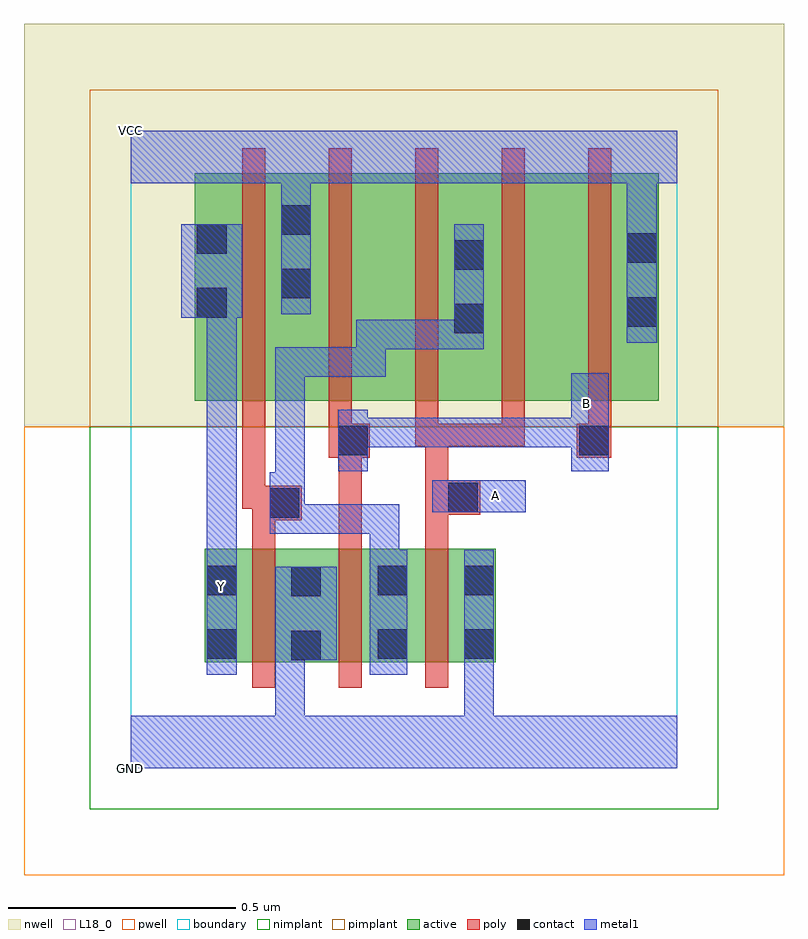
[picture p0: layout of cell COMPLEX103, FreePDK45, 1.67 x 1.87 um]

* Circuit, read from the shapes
.subckt COMPLEX103 A B GND VCC Y
M1 GND n1 Y VSUBS nfet w=0.25u l=0.05u
M2 n1 B GND VSUBS nfet w=0.25u l=0.05u
M3 GND A n1 VSUBS nfet w=0.25u l=0.05u
M4 VCC n1 Y n2 pfet w=0.5u l=0.05u
M5 n3 B VCC n2 pfet w=0.5u l=0.05u
M6 n1 A n3 n2 pfet w=0.5u l=0.05u
M7 n4 A n1 n2 pfet w=0.5u l=0.05u
M8 VCC B n4 n2 pfet w=0.5u l=0.05u
.ends

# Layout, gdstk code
import gdstk
lib = gdstk.Library(unit=1e-6, precision=1e-09)
def R(c, l, rs):  # rectangles x0, y0, x1, y1
    for r in rs: c.add(gdstk.rectangle(r[:2], r[2:], *l))
def A(c, l, x, y, w, h, nx, ny, dx, dy):  # array of equal rectangles
    R(c, l, [(x+i*dx, y+j*dy, x+i*dx+w, y+j*dy+h) for i in range(nx) for j in range(ny)])
active = (1, 0)
pwell = (2, 0)
nwell = (3, 0)
nimplant = (4, 0)
pimplant = (5, 0)
poly = (9, 0)
contact = (10, 0)
metal1 = (11, 0)
L18_0 = (18, 0)
boundary = (235, 0)

complex103 = lib.new_cell('COMPLEX103')
R(complex103, active, [(0.162,0.232,0.422,0.482), (0.347,0.232,0.612,0.482), (0.347,0.232,0.422,0.472), (0.537,0.232,0.802,0.482), (0.162,0.235,0.237,0.482), (0.537,0.235,0.612,0.45), (0.727,0.235,0.802,0.482), (0.14,0.807,0.215,1.2), (0.14,0.807,0.4,1.307), (0.325,0.807,0.4,1.305), (0.325,0.807,0.555,1.307), (0.555,0.807,0.78,1.307), (0.705,0.807,0.935,1.307), (0.705,0.807,0.78,1.2), (0.935,0.807,1.16,1.307), (1.085,0.807,1.16,1.305)])
R(complex103, pwell, [(-0.235,-0.235,1.435,0.75)])
R(complex103, nwell, [(-0.235,0.75,1.435,1.635)])
R(complex103, nimplant, [(-0.09,-0.09,1.29,0.75)])
R(complex103, pimplant, [(-0.09,0.75,1.29,1.49)])
A(complex103, poly, 0.267, 0.177, 0.05, 0.36, 3, 1, 0.19, 0)
A(complex103, poly, 0.435, 0.707, 0.05, 0.095, 4, 1, 0.19, 0)
A(complex103, poly, 0.245, 0.752, 0.05, 0.61, 5, 1, 0.19, 0)
R(complex103, poly, [(0.267,0.487,0.317,0.595), (0.457,0.487,0.507,0.732), (0.647,0.487,0.697,0.607), (0.267,0.545,0.375,0.62), (0.647,0.557,0.767,0.632), (0.245,0.57,0.317,0.62), (0.245,0.57,0.295,0.802), (0.267,0.57,0.317,0.62), (0.647,0.582,0.697,0.757), (0.435,0.682,0.525,0.757), (0.457,0.682,0.507,0.732), (0.457,0.682,0.507,0.732), (0.98,0.682,1.055,0.757), (0.625,0.707,0.697,0.757), (0.647,0.707,0.865,0.757), (0.815,0.707,0.865,0.757), (0.815,0.707,0.865,0.757), (0.815,0.707,0.865,0.757)])
R(complex103, contact, [(0.352,0.237,0.417,0.302), (0.167,0.24,0.232,0.305), (0.542,0.24,0.607,0.305), (0.732,0.24,0.797,0.305), (0.352,0.377,0.417,0.442), (0.167,0.38,0.232,0.445), (0.542,0.38,0.607,0.445), (0.732,0.38,0.797,0.445), (0.305,0.55,0.37,0.615), (0.697,0.562,0.762,0.627), (0.455,0.687,0.52,0.752), (0.985,0.687,1.05,0.752), (0.71,0.955,0.775,1.02), (1.09,0.97,1.155,1.035), (0.145,0.99,0.21,1.055), (0.33,1.032,0.395,1.097), (0.71,1.095,0.775,1.16), (1.09,1.11,1.155,1.175), (0.145,1.13,0.21,1.195), (0.33,1.172,0.395,1.237)])
R(complex103, metal1, [(0,0,1.2,0.115), (0.317,0.05,0.382,0.115), (0.317,0.05,0.382,0.115), (0.317,0.05,0.382,0.115), (0.317,0.05,0.382,0.115), (0.317,0.05,0.382,0.302), (0.732,0.05,0.797,0.115), (0.732,0.05,0.797,0.115), (0.732,0.05,0.797,0.115), (0.732,0.05,0.797,0.115), (0.732,0.05,0.797,0.27), (0.167,0.205,0.232,0.48), (0.525,0.205,0.607,0.48), (0.732,0.205,0.797,0.48), (0.317,0.237,0.452,0.442), (0.167,0.332,0.232,0.48), (0.167,0.415,0.232,0.48), (0.167,0.415,0.232,1.055), (0.525,0.415,0.59,0.58), (0.305,0.515,0.37,0.65), (0.305,0.515,0.382,0.58), (0.317,0.515,0.382,0.58), (0.317,0.515,0.59,0.58), (0.317,0.515,0.382,0.925), (0.525,0.515,0.59,0.58), (0.525,0.515,0.59,0.58), (0.525,0.515,0.59,0.58), (0.662,0.562,0.867,0.632), (0.455,0.652,0.52,0.787), (0.967,0.652,1.05,0.867), (0.455,0.705,0.52,0.77), (0.455,0.705,0.52,0.77), (0.455,0.705,0.727,0.77), (0.662,0.705,0.727,0.77), (0.662,0.705,0.727,0.77), (0.662,0.705,0.727,0.77), (0.662,0.705,0.895,0.77), (0.83,0.705,1.032,0.77), (0.83,0.705,0.895,0.77), (0.83,0.705,0.895,0.77), (0.83,0.705,0.895,0.77), (0.317,0.86,0.382,0.925), (0.317,0.86,0.382,0.925), (0.317,0.86,0.382,0.925), (0.317,0.86,0.56,0.925), (0.495,0.86,0.56,0.985), (0.495,0.92,0.56,0.985), (0.495,0.92,0.56,0.985), (0.495,0.92,0.757,0.985), (0.692,0.92,0.757,0.985), (0.692,0.92,0.775,0.985), (0.71,0.92,0.775,1.195), (1.09,0.935,1.155,1.21), (0.11,0.99,0.245,1.195), (0.167,0.99,0.232,1.055), (0.167,0.99,0.232,1.055), (0.33,0.997,0.395,1.272), (1.09,1.145,1.155,1.35), (0.33,1.207,0.395,1.35), (0,1.285,1.2,1.4)])
R(complex103, L18_0, [(0,0,1.2,0.115), (0.317,0.05,0.382,0.115), (0.317,0.05,0.382,0.115), (0.317,0.05,0.382,0.115), (0.317,0.05,0.382,0.115), (0.317,0.05,0.382,0.302), (0.732,0.05,0.797,0.115), (0.732,0.05,0.797,0.115), (0.732,0.05,0.797,0.115), (0.732,0.05,0.797,0.115), (0.732,0.05,0.797,0.27), (0.167,0.205,0.232,0.48), (0.732,0.205,0.797,0.48), (0.317,0.237,0.452,0.442), (0.167,0.332,0.232,0.48), (0.167,0.367,0.232,0.432), (0.167,0.415,0.232,0.48), (0.167,0.415,0.232,1.055), (0.662,0.562,0.867,0.632), (0.767,0.567,0.832,0.632), (0.455,0.652,0.52,0.787), (0.967,0.652,1.05,0.867), (0.455,0.705,0.52,0.77), (0.455,0.705,0.52,0.77), (0.455,0.705,0.727,0.77), (0.662,0.705,0.727,0.77), (0.662,0.705,0.727,0.77), (0.662,0.705,0.727,0.77), (0.662,0.705,0.895,0.77), (0.83,0.705,0.895,0.77), (0.83,0.705,0.895,0.77), (0.83,0.705,0.895,0.77), (0.83,0.705,1.032,0.77), (0.967,0.767,1.032,0.832), (1.09,0.935,1.155,1.21), (0.11,0.99,0.245,1.195), (0.167,0.99,0.232,1.055), (0.167,0.99,0.232,1.055), (0.33,0.997,0.395,1.272), (1.09,1.145,1.155,1.35), (0.33,1.207,0.395,1.35), (0,1.285,1.2,1.4)])
R(complex103, boundary, [(0,0,1.2,1.4)])
complex103.add(gdstk.Label('A', (0.8,0.6), layer=11, texttype=0))
complex103.add(gdstk.Label('B', (1,0.8), layer=11, texttype=0))
complex103.add(gdstk.Label('Y', (0.2,0.4), layer=11, texttype=0))
complex103.add(gdstk.Label('VCC', (0,1.4), layer=11, texttype=0))
complex103.add(gdstk.Label('GND', (0,0), layer=11, texttype=0))

lib.write_gds('COMPLEX103.gds')
